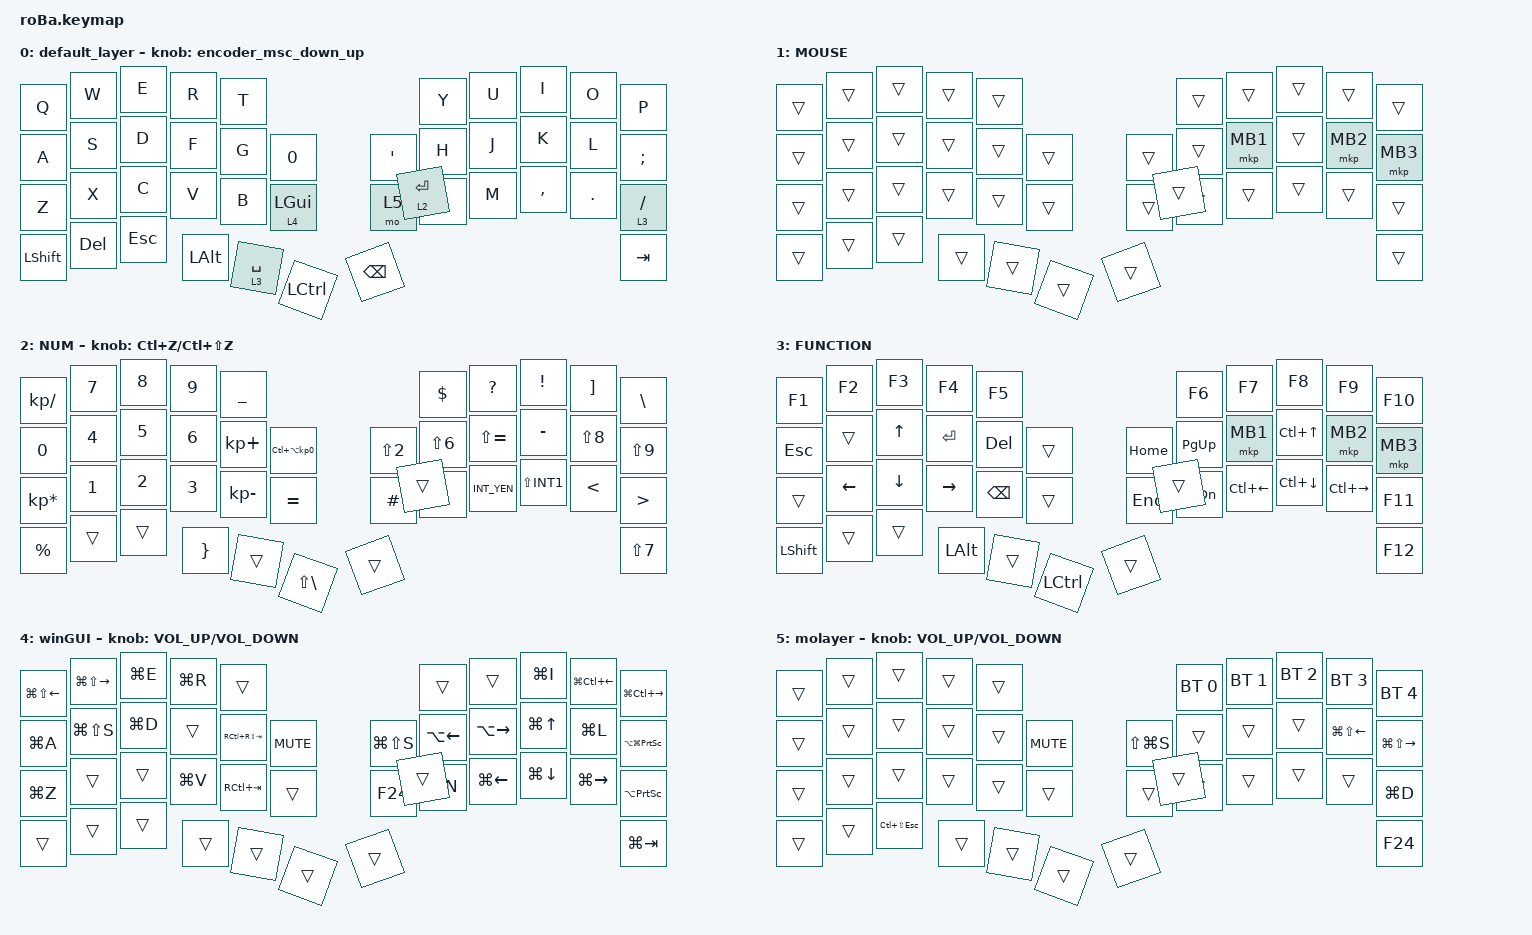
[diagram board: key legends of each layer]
#include <behaviors.dtsi>
#include <dt-bindings/zmk/bt.h>
#include <dt-bindings/zmk/keys.h>
#include <dt-bindings/zmk/pointing.h>

//スクロール量変更の定義を追記

#define ZMK_POINTING_DEFAULT_SCRL_VAL 100

&mt {
    flavor = "balanced";
    quick-tap-ms = <0>;
    tapping-term-ms = <150>;
};

&trackball {
    automouse-layer = <1>;
    scroll-layers = <5>;

    // レイヤー4 (winGUI) でのジェスチャ定義

    layer4_browser_gestures {
        layers = <4>;
        bindings =
            <&kp LA(RIGHT)>,
            // 右,,,,,,,,,,,
            <&kp LA(LEFT)>,
            // 左,,,,,,,,,,,
            <&kp LC(LS(TAB))>,
            // 下,,,,,,,,,,,
            <&kp LC(TAB)>;

        // 上

        tick = <80>;
        wait-ms = <40>;
        tap-ms = <10>;
    };

    /* // 必要になったらコメントアウトを外して使える矢印キー設定
    arrows {
        layers = <3>;
        bindings =
            <&kp RIGHT_ARROW>,
            <&kp LEFT_ARROW>,
            <&kp UP_ARROW>,
            <&kp DOWN_ARROW>;
        tick = <10>;
        wait-ms = <5>;
        tap-ms = <5>;
    };
    */
};

/ {
    combos {
        compatible = "zmk,combos";

        tab {
            bindings = <&kp TAB>;
            key-positions = <11 12>;
        };

        shift_tab {
            bindings = <&kp LS(TAB)>;
            key-positions = <12 13>;
        };

        double_quotation {
            bindings = <&kp DOUBLE_QUOTES>;
            key-positions = <20 21>;
        };

        eq {
            bindings = <&kp EQUAL>;
            key-positions = <24 25>;
        };
    };

    macros {
        to_layer_0: to_layer_0 {
            compatible = "zmk,behavior-macro-one-param";
            #binding-cells = <1>;
            bindings = <&to 0 &macro_param_1to1 &kp MACRO_PLACEHOLDER>;
            label = "TO_LAYER_0";
        };
    };

    behaviors {
        // --- 新しく追加：切り替え爆速のレイヤータップ ---

        lt_fast: lt_fast {
            compatible = "zmk,behavior-hold-tap";
            label = "FAST_LAYER_TAP";
            #binding-cells = <2>;
            flavor = "hold-preferred";     // 次のキーが押されたら即レイヤーON
            tapping-term-ms = <130>;       // 判定時間を短縮
            quick-tap-ms = <150>;          // 連打（改行連打）を許可
            bindings = <&mo>, <&kp>;
        };

        // --- 既存の設定 ---
        // lt_to_layer_0: lt_to_layer_0 {
        //      compatible = "zmk,behavior-hold-tap";
        //      label = "LAYER_TAP_TO_0";
        //      bindings = <&mo>, <&to_layer_0>;
        //      #binding-cells = <2>;
        //      tapping-term-ms = <200>;
        // };

        encoder_msc_down_up: encoder_msc_down_up {
            compatible = "zmk,behavior-sensor-rotate";
            label = "ENCODER_MSC_DOWN_UP";
            #sensor-binding-cells = <0>;
            bindings = <&msc SCRL_DOWN>, <&msc SCRL_UP>;

            tap-ms = <20>;
        };
    };

    keymap {
        compatible = "zmk,keymap";

        default_layer {
            bindings = <
&kp Q           &kp W    &kp E    &kp R         &kp T                                                &kp Y             &kp U  &kp I      &kp O    &kp P
&kp A           &kp S    &kp D    &kp F         &kp G        &kp N0                   &kp APOS       &kp H             &kp J  &kp K      &kp L    &kp SEMICOLON
&kp Z           &kp X    &kp C    &kp V         &kp B        &lt_fast 4 LEFT_GUI      &mo 5          &kp N             &kp M  &kp COMMA  &kp DOT  &lt 3 SLASH
&kp LEFT_SHIFT  &kp DEL  &kp ESC  &kp LEFT_ALT  &lt 3 SPACE  &kp LCTRL                &kp BACKSPACE  &lt_fast 2 ENTER                             &kp TAB
            >;

            sensor-bindings = <&encoder_msc_down_up>;
        };

        MOUSE {
            bindings = <
&trans  &trans  &trans  &trans  &trans                      &trans  &trans    &trans  &trans    &trans
&trans  &trans  &trans  &trans  &trans  &trans      &trans  &trans  &mkp MB1  &trans  &mkp MB2  &mkp MB3
&trans  &trans  &trans  &trans  &trans  &trans      &trans  &trans  &trans    &trans  &trans    &trans
&trans  &trans  &trans  &trans  &trans  &trans      &trans  &trans                              &trans
            >;
        };

        NUM {
            bindings = <
&kp KP_SLASH     &kp NUMBER_7  &kp NUMBER_8  &kp NUMBER_9     &kp UNDERSCORE                                                 &kp DOLLAR        &kp QMARK      &kp EXCL      &kp RIGHT_BRACKET  &kp BACKSLASH
&kp NUMBER_0     &kp NUMBER_4  &kp NUMBER_5  &kp NUMBER_6     &kp KP_PLUS     &kp LC(LA(KP_NUMBER_0))      &kp LS(NUMBER_2)  &kp LS(NUMBER_6)  &kp LS(EQUAL)  &kp MINUS     &kp LS(NUMBER_8)   &kp LS(NUMBER_9)
&kp KP_ASTERISK  &kp NUMBER_1  &kp NUMBER_2  &kp NUMBER_3     &kp KP_MINUS    &kp EQUAL                    &kp HASH          &kp LEFT_BRACKET  &kp INT_YEN    &kp LS(INT1)  &kp LESS_THAN      &kp GT
&kp PERCENT      &trans        &trans        &kp RIGHT_BRACE  &trans          &kp LS(BACKSLASH)            &trans            &trans                                                            &kp LS(NUMBER_7)
            >;

            sensor-bindings = <&inc_dec_kp LC(Z) LC(LS(Z))>;
        };

        FUNCTION {
            bindings = <
&kp F1          &kp F2          &kp F3          &kp F4           &kp F5                                  &kp F6         &kp F7              &kp F8              &kp F9               &kp F10
&kp ESC         &trans          &kp UP_ARROW    &kp ENTER        &kp DEL        &trans         &kp HOME  &kp PAGE_UP    &mkp MB1            &kp LC(UP_ARROW)    &mkp MB2             &mkp MB3
&trans          &kp LEFT_ARROW  &kp DOWN_ARROW  &kp RIGHT_ARROW  &kp BACKSPACE  &trans         &kp END   &kp PAGE_DOWN  &kp LC(LEFT_ARROW)  &kp LC(DOWN_ARROW)  &kp LC(RIGHT_ARROW)  &kp F11
&kp LEFT_SHIFT  &trans          &trans          &kp LEFT_ALT     &trans         &kp LCTRL      &trans    &trans                                                                      &kp F12
            >;
        };

        winGUI {
            bindings = <
&kp LG(LS(LEFT_ARROW))  &kp LG(LS(RIGHT_ARROW))  &kp LG(E)  &kp LG(R)  &trans                                          &trans              &trans               &kp LG(I)           &kp LG(LC(LEFT_ARROW))  &kp LG(LC(RIGHT_ARROW))
&kp LG(A)               &kp LG(LS(S))            &kp LG(D)  &trans     &kp RC(RS(TAB))  &kp C_MUTE      &kp LG(LS(S))  &kp LA(LEFT_ARROW)  &kp LA(RIGHT_ARROW)  &kp LG(UP_ARROW)    &kp LG(L)               &kp LA(LG(PRINTSCREEN))
&kp LG(Z)               &trans                   &trans     &kp LG(V)  &kp RC(TAB)      &trans          &kp F24        &kp LG(N)           &kp LG(LEFT_ARROW)   &kp LG(DOWN_ARROW)  &kp LG(RIGHT_ARROW)     &kp LA(PRINTSCREEN)
&trans                  &trans                   &trans     &trans     &trans           &trans          &trans         &trans                                                                               &kp LG(TAB)
            >;

            sensor-bindings = <&inc_dec_kp C_VOLUME_UP C_VOLUME_DOWN>;
        };

        molayer {
            bindings = <
&trans  &trans  &trans           &trans  &trans                                 &bt BT_SEL 0  &bt BT_SEL 1  &bt BT_SEL 2  &bt BT_SEL 3            &bt BT_SEL 4
&trans  &trans  &trans           &trans  &trans  &kp C_MUTE      &kp LS(LG(S))  &trans        &trans        &trans        &kp LG(LS(LEFT_ARROW))  &kp LG(LS(RIGHT))
&trans  &trans  &trans           &trans  &trans  &trans          &trans         &trans        &trans        &trans        &trans                  &kp LG(D)
&trans  &trans  &kp LC(LS(ESC))  &trans  &trans  &trans          &trans         &trans                                                            &kp F24
            >;

            sensor-bindings = <&inc_dec_kp C_VOLUME_UP C_VOLUME_DOWN>;
        };
    };
};
